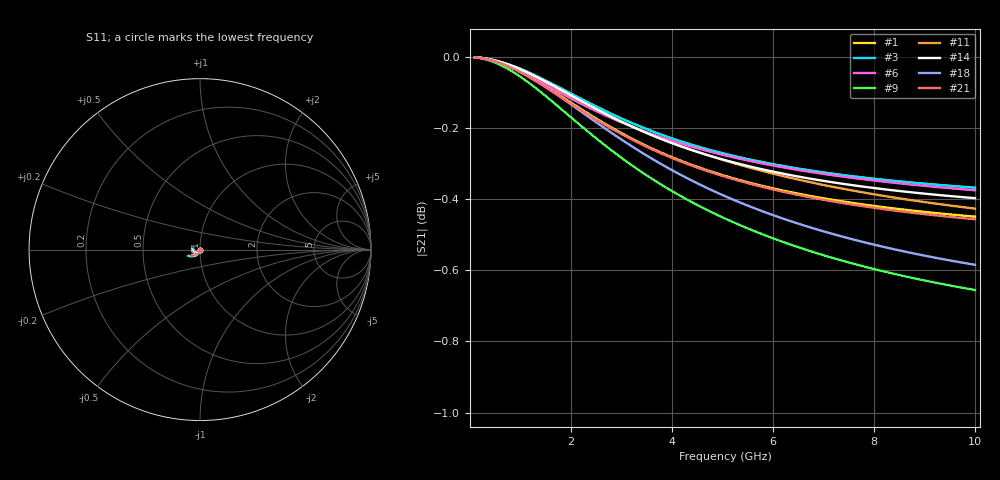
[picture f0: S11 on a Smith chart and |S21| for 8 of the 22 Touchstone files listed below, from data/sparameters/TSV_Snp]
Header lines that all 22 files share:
! Touchstone file exported from HFSS 2024.1.0
!  Design:  TSV1
!  Setup:  Setup1
!  Solution:  Sweep
! Variables:
# GHz S MA R 50.000000
! Terminal data exported
! Port[1] = TSV22_T1
! Port[2] = TSV22_T2
Fixed: hbump = 3um, lrdl = 252.1521522um, p = 40, t = 500um, trdl = 3um, wrdl = 24.89489489um
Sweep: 100 MHz to 10 GHz
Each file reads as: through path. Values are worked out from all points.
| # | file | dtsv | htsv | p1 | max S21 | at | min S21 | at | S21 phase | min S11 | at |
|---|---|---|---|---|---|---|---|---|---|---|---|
| 1 | dut0.s2p | 12.19um | 80.07um | 59.79um | 0.00 dB | 100 MHz | -0.4 dB | 10 GHz | -4 deg at 5.1 GHz | -57.0 dB | 100 MHz |
| 2 | dut7.s2p | 14.94um | 80.34um | 55.49um | 0.00 dB | 100 MHz | -0.5 dB | 10 GHz | -4 deg at 5.1 GHz | -54.5 dB | 100 MHz |
| 3 | dut8.s2p | 10.25um | 71.25um | 59.14um | 0.00 dB | 100 MHz | -0.4 dB | 10 GHz | -3 deg at 5.1 GHz | -59.6 dB | 100 MHz |
| 4 | dut10.s2p | 11.16um | 90.29um | 51.15um | 0.00 dB | 100 MHz | -0.5 dB | 10 GHz | -4 deg at 5.1 GHz | -56.3 dB | 100 MHz |
| 5 | dut25.s2p | 19.92um | 52.38um | 59.98um | 0.00 dB | 100 MHz | -0.4 dB | 10 GHz | -3 deg at 5.1 GHz | -55.3 dB | 100 MHz |
| 6 | dut29.s2p | 17.53um | 50.96um | 57.37um | 0.00 dB | 100 MHz | -0.4 dB | 10 GHz | -3 deg at 5.1 GHz | -56.9 dB | 100 MHz |
| 7 | dut34.s2p | 11.27um | 60.82um | 57.09um | 0.00 dB | 100 MHz | -0.3 dB | 10 GHz | -3 deg at 5.1 GHz | -60.0 dB | 100 MHz |
| 8 | dut36.s2p | 13.53um | 74.63um | 41.39um | 0.00 dB | 100 MHz | -0.5 dB | 10 GHz | -4 deg at 5.1 GHz | -55.7 dB | 100 MHz |
| 9 | dut37.s2p | 15.56um | 92.3um | 47.45um | 0.00 dB | 100 MHz | -0.7 dB | 10 GHz | -5 deg at 5.1 GHz | -52.5 dB | 100 MHz |
| 10 | dut38.s2p | 12.12um | 73.67um | 53.59um | 0.00 dB | 100 MHz | -0.4 dB | 10 GHz | -3 deg at 5.1 GHz | -57.5 dB | 100 MHz |
| 11 | dut39.s2p | 15.97um | 58.47um | 45.89um | 0.00 dB | 100 MHz | -0.4 dB | 10 GHz | -3 deg at 5.1 GHz | -56.2 dB | 100 MHz |
| 12 | dut40.s2p | 11.26um | 54um | 59.92um | 0.00 dB | 100 MHz | -0.3 dB | 10 GHz | -3 deg at 5.1 GHz | -61.2 dB | 100 MHz |
| 13 | dut42.s2p | 16.29um | 80.79um | 56.12um | 0.00 dB | 100 MHz | -0.6 dB | 10 GHz | -4 deg at 5.1 GHz | -53.5 dB | 100 MHz |
| 14 | dut45.s2p | 11.66um | 70.91um | 55.63um | 0.00 dB | 100 MHz | -0.4 dB | 10 GHz | -3 deg at 5.1 GHz | -58.3 dB | 100 MHz |
| 15 | dut49.s2p | 15.94um | 78.17um | 54.99um | 0.00 dB | 100 MHz | -0.5 dB | 10 GHz | -4 deg at 5.1 GHz | -54.0 dB | 100 MHz |
| 16 | dut50.s2p | 13um | 65.95um | 55.69um | 0.00 dB | 100 MHz | -0.4 dB | 10 GHz | -3 deg at 5.1 GHz | -57.9 dB | 100 MHz |
| 17 | dut54.s2p | 14.74um | 81.43um | 54.74um | 0.00 dB | 100 MHz | -0.5 dB | 10 GHz | -4 deg at 5.1 GHz | -54.5 dB | 100 MHz |
| 18 | dut70.s2p | 13.13um | 90.99um | 42.46um | 0.00 dB | 100 MHz | -0.6 dB | 10 GHz | -4 deg at 5.1 GHz | -54.3 dB | 100 MHz |
| 19 | dut72.s2p | 17.62um | 71.25um | 53.88um | 0.00 dB | 100 MHz | -0.5 dB | 10 GHz | -4 deg at 5.1 GHz | -53.7 dB | 100 MHz |
| 20 | dut82.s2p | 11.63um | 82.07um | 43.57um | 0.00 dB | 100 MHz | -0.5 dB | 10 GHz | -4 deg at 5.1 GHz | -56.5 dB | 100 MHz |
| 21 | dut88.s2p | 12.53um | 70.78um | 49.82um | 0.00 dB | 100 MHz | -0.5 dB | 10 GHz | -3 deg at 5.1 GHz | -55.9 dB | 100 MHz |
| 22 | dut90.s2p | 11.06um | 65.55um | 59.74um | 0.00 dB | 100 MHz | -0.4 dB | 10 GHz | -3 deg at 5.1 GHz | -59.6 dB | 100 MHz |
